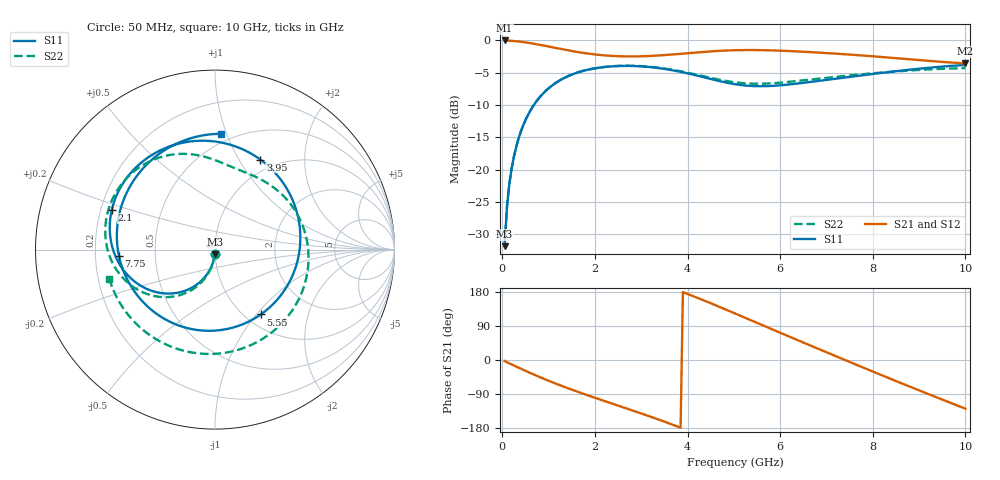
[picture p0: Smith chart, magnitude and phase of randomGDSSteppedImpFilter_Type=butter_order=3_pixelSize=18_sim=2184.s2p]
! freq	dB(S11)	phase(S11)	dB(S12)	phase(S12)
!  dB(S21)	phase(S21)	dB(S22)	phase(S22)
!S-par simulation data
#  GHz  S  DB  R 50
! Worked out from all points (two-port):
!   200 points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, 50 MHz to 10 GHz, reference 50 ohm
!   highest |S21| = -0.01 dB at 50 MHz (marker M1); lowest = -3.6 dB at 10 GHz (marker M2)
!   |S21| within 3 dB of the highest: start of sweep to 8.924 GHz
!   lowest |S11| = -31.8 dB at 50 MHz (marker M3), VSWR 1.05, Z = 49.8 - j2.55 ohm
!   |S11| at or under -10 dB: start of sweep to 681 MHz
!   |S22| runs from -31.8 to -3.9 dB; largest |S21 - S12| = 0
!   S11 on the Smith chart (normalised r, x): 50 MHz: 1.00, -0.05; 2.1 GHz: 0.25, +0.17; 3.95 GHz: 0.85, +1.24; 5.55 GHz: 1.17, -1.05; 7.75 GHz: 0.30, -0.03; 10 GHz: 0.43, +0.95
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0.05  -31.81 -93.2  -0.01 -2.9  -0.01 -2.9  -31.82 -92.9
0.1  -25.82 -96.3  -0.02 -5.9  -0.02 -5.9  -25.82 -95.8
0.2  -19.88 -102.5  -0.06 -11.6  -0.06 -11.6  -19.88 -101.6
0.35  -15.19 -111.6  -0.16 -20.2  -0.16 -20.2  -15.20 -109.9
0.5  -12.33 -120.4  -0.30 -28.5  -0.30 -28.5  -12.33 -117.9
1.05  -7.11 -150.5  -1.02 -57.2  -1.02 -57.2  -7.11 -145.0
1.75  -4.70 175.2  -1.93 -89.2  -1.93 -89.2  -4.69 -174.6
2.1  -4.20 159.0  -2.24 -103.9  -2.24 -103.9  -4.20 172.2
2.8  -3.95 126.2  -2.48 -132.7  -2.48 -132.7  -3.92 147.5
3.4  -4.30 95.5  -2.32 -158.2  -2.32 -158.2  -4.24 127.5
3.95  -5.01 63.2  -2.01 176.7  -2.01 176.7  -4.91 110.2
4.5  -5.96 25.8  -1.69 149.8  -1.69 149.8  -5.78 94.5
5.05  -6.80 -16.1  -1.51 121.6  -1.51 121.6  -6.50 80.4
5.55  -7.08 -54.7  -1.50 95.5  -1.50 95.5  -6.70 66.9
6.1  -6.88 -93.1  -1.61 66.8  -1.61 66.8  -6.47 48.1
6.7  -6.38 -128.0  -1.83 35.8  -1.83 35.8  -6.01 21.3
7.2  -5.93 -152.3  -2.04 10.2  -2.04 10.2  -5.62 -5.2
7.75  -5.41 -176.3  -2.32 -17.8  -2.32 -17.8  -5.24 -36.9
8.35  -4.88 158.8  -2.66 -48.0  -2.66 -48.0  -4.88 -72.5
9.1  -4.30 127.4  -3.11 -85.0  -3.11 -85.0  -4.52 -115.7
9.55  -4.01 107.7  -3.35 -106.8  -3.35 -106.8  -4.38 -140.4
10  -3.80 87.2  -3.55 -128.5  -3.55 -128.5  -4.28 -164.2
